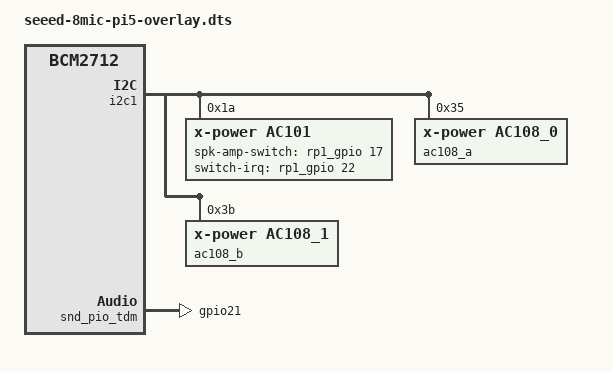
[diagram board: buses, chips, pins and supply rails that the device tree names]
/dts-v1/;
/plugin/;
/*
 * ReSpeaker 6-Mic HAT on Raspberry Pi 5 (RP1).
 *  - fragment@0/2/3/4: the seeed-voicecard control plane (codecs on i2c1, GPCLK0 24 MHz MCLK,
 *    DesignWare I2S1 as the CPU DAI whose 8-ch capture stream is the codec-clock heartbeat).
 *  - fragment@5: snd-pio-tdm - the actual audio path on RP1 PIO (8-ch S32 RX from GPIO20,
 *    2-ch S32 TX on GPIO21).  I2S1 keeps GPIO18/19/20 (BCLK/WS/SDI, PIO reads the pads);
 *    GPIO21 (SDO) is muxed to the "pio" function for the TX state machine.
 * Compile (both include dirs; install-pi5.sh does this for you):
 *   cpp -nostdinc -I /usr/src/linux-headers-$(uname -r)/include \
 *       -I /usr/src/linux-headers-6.18.34+rpt-common-rpi/include -undef -x assembler-with-cpp \
 *       seeed-8mic-pi5-overlay.dts | dtc -@ -H epapr -O dtb -o seeed-8mic-pi5.dtbo -
 */
#include <dt-bindings/clock/rp1.h>
#include <dt-bindings/mfd/rp1.h>
/ {
    compatible = "brcm,bcm2712";
    fragment@0 {  /* CPU DAI = DesignWare I2S1 (clock consumer). Pins trimmed to 18-20: GPIO21 goes to PIO. */
        target = <&i2s_clk_consumer>;
        __overlay__ { #sound-dai-cells = <0>; pinctrl-names = "default";
                      pinctrl-0 = <&rp1_i2s1_18_20>;
                      /* TRIED AND REJECTED 2026-09-05 -- dwc-i2s "PIO" (interrupt-driven FIFO) mode.
                         Adding   interrupts = <15 4>;   (RP1_INT_I2S1 = 15, IRQ_TYPE_LEVEL_HIGH = 4)
                         makes dw_i2s_probe take the platform_get_irq_optional() branch, so
                         dev->use_pio = true, i2s_enable_dma() is skipped and the IRQ handler moves
                         the FIFOs.  rp1.dtsi carries exactly this line commented out with the note
                         "Providing an interrupt disables DMA".
                         MEASURED: it probes correctly -- IRQ 15 shows up in
                         /proc/interrupts as "1f000a4000.i2s" and dma2chan4/dma2chan5 are no longer
                         claimed -- but the PIO PCM is sound/soc/dwc/dwc-pcm.c, whose dw_pcm_hardware
                         is channels_min = channels_max = 2.  So BOTH  aplay -c 8  and  arecord -c 8
                         fail at hw_params with "designware-i2s: invalid channels number" (-EINVAL)
                         and the card is unusable.  It also cannot answer the TX-DREQ question,
                         because it bypasses the DMAC entirely.  LEFT DISABLED:
                              interrupts = <15 4>;
                         (Root cause of the playback failure is elsewhere -- see pi5/README.md:
                          the DesignWare TRANSMITTER does not shift at all in consumer mode
                          against the AC101 DSP_A frame; the DMA/DREQ is fine.) */
                      status = "okay"; };
    };
    fragment@2 {  /* AC101 GPIOs + GPCLK0 pinmux, RP1 syntax. If "gpio" function is rejected,
                     delete spk_amp_pins — devm_gpiod_get muxes the pins itself. */
        target = <&rp1_gpio>;
        __overlay__ {
            spk_amp_pins: spk_amp_pins {
                pin_amp { function = "gpio"; pins = "gpio17"; bias-disable; };
                pin_irq { function = "gpio"; pins = "gpio22"; bias-disable; };
            };
            gpclk0_pin: gpclk0_pin { function = "gpclk0"; pins = "gpio4"; bias-disable; };
            /* I2S1 without SDO: the base dtb's rp1_i2s1_18_21 would claim GPIO21 (pinctrl-rp1 is strict). */
            rp1_i2s1_18_20: rp1_i2s1_18_20 { function = "i2s1"; pins = "gpio18", "gpio19", "gpio20"; bias-disable; };
            /* SDO for the PIO TX state machine (RP1 pinctrl function "pio" = funcsel a7). */
            pio_sdo_pin: pio_sdo_pin { function = "pio"; pins = "gpio21"; bias-disable; };
        };
    };
    fragment@3 {  /* All three codecs — ONE component; won't register otherwise (ac108.c:1524-1547) */
        target = <&i2c1>;
        __overlay__ {
            #address-cells = <1>; #size-cells = <0>; status = "okay";
            ac101: ac101@1a { compatible = "x-power,ac101"; pinctrl-names = "default";
                pinctrl-0 = <&spk_amp_pins &gpclk0_pin>;
                spk-amp-switch-gpios = <&rp1_gpio 17 0>; switch-irq-gpios = <&rp1_gpio 22 0>;
                /* MCLK: set GPCLK0 to 24 MHz when the AC101 probes (the pinctrl above muxes GPIO4 at the same
                   moment). NOT via &clksrc_gp0: that fixed-factor node never becomes a device on 6.18 (its
                   supplier rp1_clocks is behind PCIe and isn't up when /clocks populates at 0.55 s). */
                assigned-clocks = <&rp1_clocks RP1_CLK_GP0>;
                assigned-clock-rates = <24000000>;
                reg = <0x1a>; #sound-dai-cells = <0>; };
            ac108_a: ac108@35 { compatible = "x-power,ac108_0"; reg = <0x35>;
                #sound-dai-cells = <0>; data-protocol = <0>; tdm-chips-count = <2>; };
            ac108_b: ac108@3b { compatible = "x-power,ac108_1"; reg = <0x3b>;
                #sound-dai-cells = <0>; data-protocol = <0>; tdm-chips-count = <2>; };
        };
    };
    fragment@4 {  /* Machine driver = the fixed seeed-voicecard. &sound stub EXISTS on Pi 5 (verified) */
        target = <&sound>;
        sound_overlay: __overlay__ {
                compatible = "seeed-voicecard";
                seeed-voice-card,name = "seeed8micvoicec";
                seeed-voice-card,channels-playback-override = <8>;  /* Phase 2 H1: → <2> */
                seeed-voice-card,channels-capture-override  = <8>;
                #address-cells = <1>; #size-cells = <0>; status = "okay";
                seeed-voice-card,dai-link@0 {
                    format = "dsp_a"; bitclock-master = <&codec0_dai>; frame-master = <&codec0_dai>;
                    reg = <0>;
                    cpu { sound-dai = <&i2s_clk_consumer>;
                          dai-tdm-slot-num = <2>;      /* Phase 2 H1: → <8> */
                          dai-tdm-slot-width = <32>;
                          dai-tdm-slot-tx-mask = <1 1 0 0>; dai-tdm-slot-rx-mask = <1 1 0 0>; };
                    codec0_dai: codec { sound-dai = <&ac108_a>;
                          clocks = <&rp1_clocks RP1_CLK_GP0>; /* clk_get resolves; .startup enables GP0 output; rate → sysclk (H3) */
                          system-clock-id = <1>; };
                };
        };
    };
    fragment@5 {  /* snd-pio-tdm: child of &rp1 so it inherits RP1's dma-ranges (correct DMAC offsets). */
        target = <&rp1>;
        __overlay__ {
            snd_pio_tdm: snd-pio-tdm {
                compatible = "seeed,snd-pio-tdm";
                pio = <&rp1_pio>;                          /* reg -> FIFO slave addresses */
                /* Parsed only, never requested (pinctrl-rp1 is strict; 18-20 belong to I2S1). */
                bclk-gpios = <&rp1_gpio 18 0>;
                ws-gpios   = <&rp1_gpio 19 0>;
                sdi-gpios  = <&rp1_gpio 20 0>;
                sdo-gpios  = <&rp1_gpio 21 0>;
                /* Own dw-axi-dmac channels; 0x100 = "heavy" -> the burst-8 channels dma2chan0/1.
                   The handshake id fixes the SM: CH0_RX -> RX on SM0, CH1_TX -> TX on SM1. */
                dmas = <&rp1_dma (RP1_DMA_PIO_CH0_RX | 0x100)>, <&rp1_dma (RP1_DMA_PIO_CH1_TX | 0x100)>;
                dma-names = "rx", "tx";
                pinctrl-names = "default";
                pinctrl-0 = <&pio_sdo_pin>;
                status = "okay";
            };
        };
    };
};
